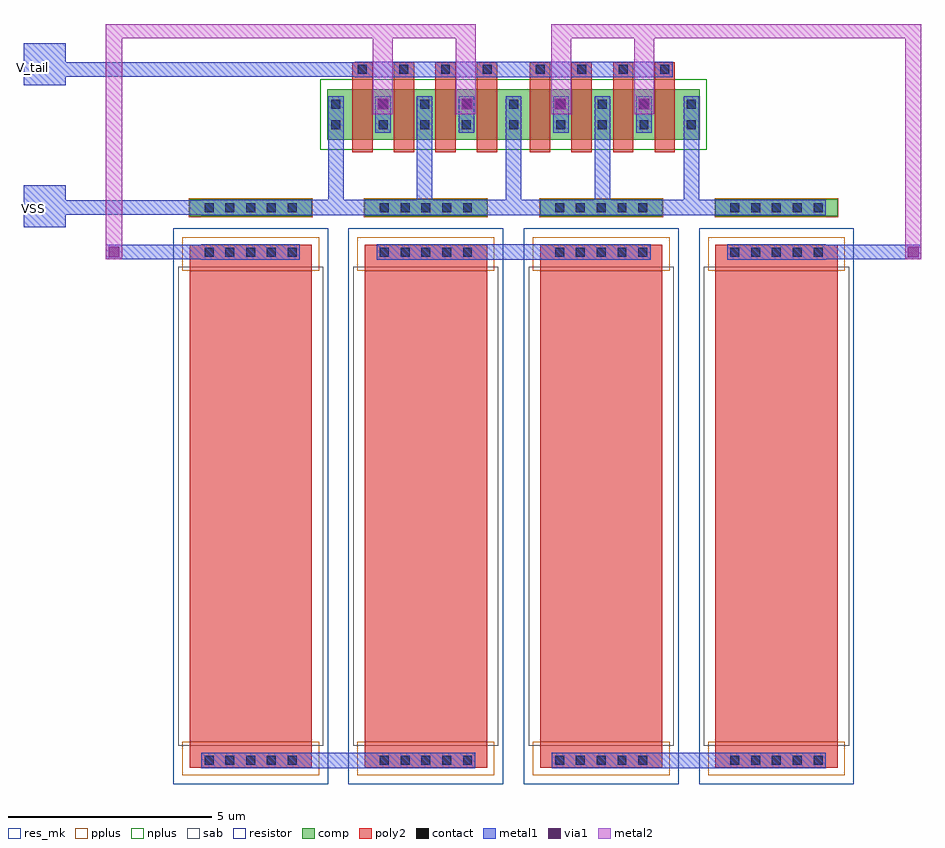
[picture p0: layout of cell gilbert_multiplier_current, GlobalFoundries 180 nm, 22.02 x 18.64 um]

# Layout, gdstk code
from math import pi, radians
import gdstk
lib = gdstk.Library(unit=1e-6, precision=5e-09)
def R(c, l, rs):  # rectangles x0, y0, x1, y1
    for r in rs: c.add(gdstk.rectangle(r[:2], r[2:], *l))
def A(c, l, x, y, w, h, nx, ny, dx, dy):  # array of equal rectangles
    R(c, l, [(x+i*dx, y+j*dy, x+i*dx+w, y+j*dy+h) for i in range(nx) for j in range(ny)])
comp = (22, 0)
poly2 = (30, 0)
pplus = (31, 0)
nplus = (32, 0)
contact = (33, 0)
metal1 = (34, 0)
via1 = (35, 0)
metal2 = (36, 0)
sab = (49, 0)
resistor = (62, 0)
res_mk = (110, 5)

nfet = lib.new_cell('nfet')
R(nfet, comp, [(-0.42,0,0,1.25), (0,0,3.94,1.25), (3.94,0,4.36,1.25)])
A(nfet, poly2, 0.19, -0.3, 0.5, 1.85, 4, 1, 1.02, 0)
A(nfet, poly2, 0.19, 1.55, 0.5, 0.36, 4, 1, 1.02, 0)
R(nfet, nplus, [(-0.59,-0.24,4.53,1.49)])
A(nfet, contact, 0.84, 0.26, 0.22, 0.22, 3, 2, 1.02, 0.51)
A(nfet, contact, 0.33, 1.62, 0.22, 0.22, 4, 1, 1.02, 0)
R(nfet, contact, [(-0.32,0.26,-0.1,0.48), (4.04,0.26,4.26,0.48), (-0.32,0.77,-0.1,0.99), (4.04,0.77,4.26,0.99)])
A(nfet, metal1, 0.76, 0.18, 0.38, 0.89, 3, 1, 1.02, 0)
A(nfet, metal1, 0.25, 1.54, 0.38, 0.38, 4, 1, 1.02, 0)
R(nfet, metal1, [(-0.4,0.18,-0.02,1.07), (3.96,0.18,4.34,1.07)])

ppolyf_u_high_rs_resisto = lib.new_cell('ppolyf_u_high_Rs_resistor')
R(ppolyf_u_high_rs_resisto, comp, [(-1.76,0,-1.34,3)])
R(ppolyf_u_high_rs_resisto, poly2, [(-0.64,0,12.19,3)])
R(ppolyf_u_high_rs_resisto, pplus, [(-0.82,-0.18,0,3.18), (11.55,-0.18,12.37,3.18), (-1.78,-0.02,-1.32,3.02)])
A(ppolyf_u_high_rs_resisto, contact, -1.66, 0.37, 0.22, 0.22, 1, 5, 0, 0.51)
A(ppolyf_u_high_rs_resisto, contact, -0.57, 0.37, 0.22, 0.22, 1, 5, 0, 0.51)
A(ppolyf_u_high_rs_resisto, contact, 11.9, 0.37, 0.22, 0.22, 1, 5, 0, 0.51)
R(ppolyf_u_high_rs_resisto, metal1, [(-1.74,0.29,-1.36,2.71), (-0.65,0.29,-0.27,2.71), (11.82,0.29,12.2,2.71)])
R(ppolyf_u_high_rs_resisto, sab, [(-0.1,-0.28,11.65,3.28)])
R(ppolyf_u_high_rs_resisto, resistor, [(-1.04,-0.4,12.59,3.4)])
R(ppolyf_u_high_rs_resisto, res_mk, [(0,0,11.55,3)])

gilbert_multiplier_curre = lib.new_cell('gilbert_multiplier_current')
A(gilbert_multiplier_curre, metal1, -2.055, 13.675, 0.38, 1.65, 5, 1, 2.18, 0)
R(gilbert_multiplier_curre, metal1, [(-5.165,-0.265,1.555,0.115), (3.435,-0.265,10.155,0.115), (-0.865,12.205,5.855,12.585), (-9.52,13,-8.495,14.035), (-5.165,13.295,10.155,13.675), (-9.52,16.485,-8.495,17.52), (-1.405,16.685,6.395,17.065)])
R(gilbert_multiplier_curre, via1, [(-7.44,12.265,-7.18,12.525), (12.17,12.265,12.43,12.525), (-0.835,15.895,-0.575,16.155), (1.22,15.895,1.48,16.155), (3.51,15.895,3.77,16.155), (5.565,15.895,5.825,16.155)])
R(gilbert_multiplier_curre, metal2, [(-7.505,12.22,-7.11,17.99), (12.1,12.22,12.495,17.99), (-0.96,15.77,-0.465,17.64), (1.075,15.77,1.57,17.64), (3.42,15.77,3.915,17.64), (5.455,15.77,5.95,17.64)])
gilbert_multiplier_curre.add(gdstk.FlexPath([(-1.405,16.875),(-8.995,16.875)], 0.35, ends="flush", simple_path=True, layer=34, datatype=0))  # metal1
gilbert_multiplier_curre.add(gdstk.FlexPath([(-5.165,13.485),(-8.985,13.485)], 0.35, ends="flush", simple_path=True, layer=34, datatype=0))  # metal1
gilbert_multiplier_curre.add(gdstk.FlexPath([(-5.165,12.395),(-7.505,12.395)], 0.35, ends="flush", simple_path=True, layer=34, datatype=0))  # metal1
gilbert_multiplier_curre.add(gdstk.FlexPath([(10.155,12.395),(12.495,12.395)], 0.35, ends="flush", simple_path=True, layer=34, datatype=0))  # metal1
gilbert_multiplier_curre.add(gdstk.FlexPath([(-7.11,17.815),(1.57,17.815)], 0.35, ends="flush", simple_path=True, layer=36, datatype=0))  # metal2
gilbert_multiplier_curre.add(gdstk.FlexPath([(12.1,17.815),(3.42,17.815)], 0.35, ends="flush", simple_path=True, layer=36, datatype=0))  # metal2
gilbert_multiplier_curre.add(gdstk.Reference(nfet, (-1.655,15.145)))
gilbert_multiplier_curre.add(gdstk.Reference(nfet, (2.705,15.145)))
gilbert_multiplier_curre.add(gdstk.Reference(ppolyf_u_high_rs_resisto, (-1.155,11.935), rotation=3*pi/2))
gilbert_multiplier_curre.add(gdstk.Reference(ppolyf_u_high_rs_resisto, (-5.455,11.935), rotation=3*pi/2))
gilbert_multiplier_curre.add(gdstk.Reference(ppolyf_u_high_rs_resisto, (7.445,11.935), rotation=3*pi/2))
gilbert_multiplier_curre.add(gdstk.Reference(ppolyf_u_high_rs_resisto, (3.145,11.935), rotation=3*pi/2))
gilbert_multiplier_curre.add(gdstk.Label('V_tail', (-9.295,16.92), layer=34, texttype=10))
gilbert_multiplier_curre.add(gdstk.Label('VSS', (-9.275,13.465), layer=34, texttype=10))

lib.write_gds('gilbert_multiplier_current.gds')
